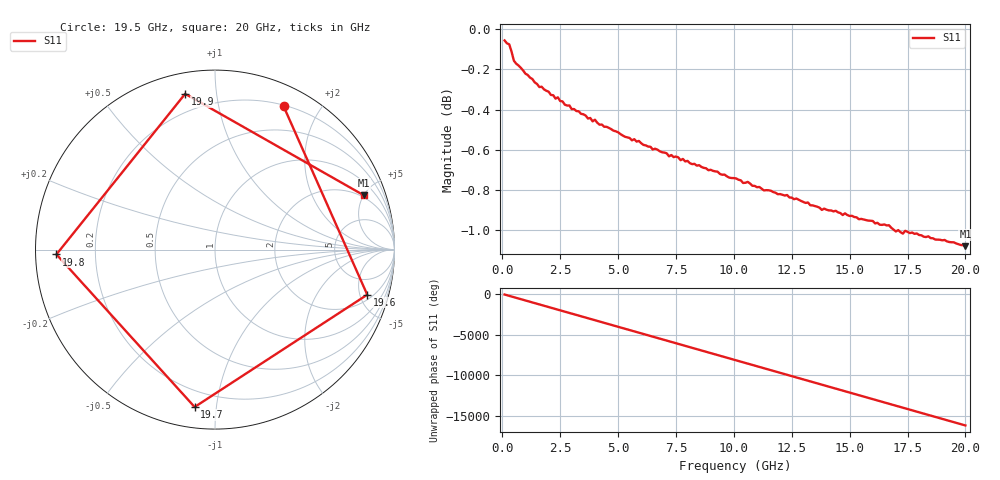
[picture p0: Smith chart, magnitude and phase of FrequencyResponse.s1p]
! File created by SignalIntegrity v1.5.4: Signal and Power Integrity Tools
! https://github.com/Nubis-Communications/SignalIntegrity
# MHz S MA R 50.0
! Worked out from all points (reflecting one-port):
!   200 points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, 100 MHz to 20 GHz, reference 50 ohm
!   lowest |S11| = -1.1 dB at 20 GHz (marker M1), VSWR 16.13, Z = 91.5 + j251 ohm
!   phase of S11 starts at -81 deg and turns -16099 deg over the sweep
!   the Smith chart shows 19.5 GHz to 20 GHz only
!   S11 on the Smith chart (normalised r, x): 19.5 GHz: 0.21, +1.57; 19.6 GHz: 2.52, -5.83; 19.7 GHz: 0.11, -0.87; 19.8 GHz: 0.06, -0.02; 19.9 GHz: 0.10, +0.82; 20 GHz: 1.83, +5.03
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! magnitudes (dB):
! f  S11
! 100 MHz  -0.1
! 300 MHz  -0.1
! 500 MHz  -0.2
! 1 GHz  -0.2
! 1.6 GHz  -0.3
! 2.6 GHz  -0.4
! 3.9 GHz  -0.5
! 4 GHz  -0.4
! 4.2 GHz  -0.5
! 5.1 GHz  -0.5
! 7.2 GHz  -0.6
! 7.6 GHz  -0.6
! 10.1 GHz  -0.7
! 12.6 GHz  -0.8
! 13.2 GHz  -0.9
! 13.8 GHz  -0.9
! 15.1 GHz  -0.9
! 16.7 GHz  -1.0
! 17 GHz  -1.0
! 17.3 GHz  -1.0
! 17.4 GHz  -1.0
! 17.6 GHz  -1.0
! 19.5 GHz  -1.1
! 19.6 GHz  -1.1
! 19.7 GHz  -1.1
! 19.8 GHz  -1.1
! 19.9 GHz  -1.1
! 20 GHz  -1.1
